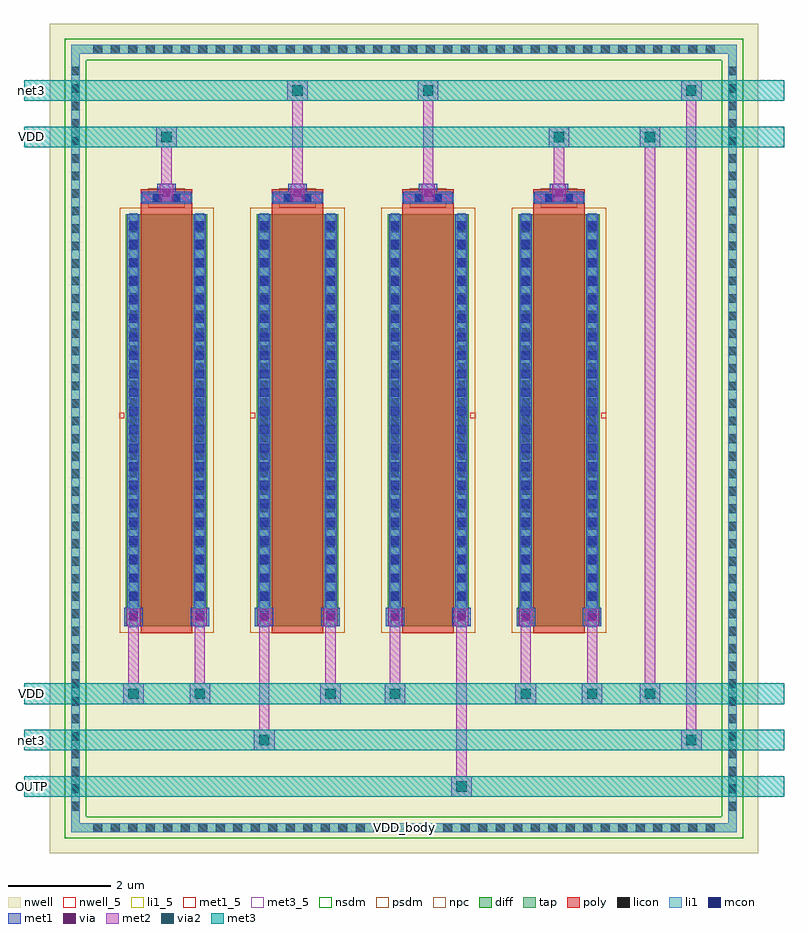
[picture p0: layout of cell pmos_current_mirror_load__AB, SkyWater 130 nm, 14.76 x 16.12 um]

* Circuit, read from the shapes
.subckt pmos_current_mirror_load__AB OUTP VDD VDD_body net3
XM1 VDD VDD VDD VDD_body sky130_fd_pr__pfet_01v8 w=8 l=1 m=2
XM2 VDD net3 net3 VDD_body sky130_fd_pr__pfet_01v8 w=8 l=1
XM3 OUTP net3 VDD VDD_body sky130_fd_pr__pfet_01v8 w=8 l=1
.ends

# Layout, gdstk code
from math import pi, radians
import gdstk
lib = gdstk.Library(unit=1e-6, precision=1e-09)
def R(c, l, rs):  # rectangles x0, y0, x1, y1
    for r in rs: c.add(gdstk.rectangle(r[:2], r[2:], *l))
def A(c, l, x, y, w, h, nx, ny, dx, dy):  # array of equal rectangles
    R(c, l, [(x+i*dx, y+j*dy, x+i*dx+w, y+j*dy+h) for i in range(nx) for j in range(ny)])
nwell_5 = (64, 5)
nwell = (64, 20)
diff = (65, 20)
tap = (65, 44)
poly = (66, 20)
licon = (66, 44)
li1_5 = (67, 5)
li1 = (67, 20)
mcon = (67, 44)
met1_5 = (68, 5)
met1 = (68, 20)
via = (68, 44)
met2 = (69, 20)
via2 = (69, 44)
met3_5 = (70, 5)
met3 = (70, 20)
nsdm = (93, 44)
psdm = (94, 20)
npc = (95, 20)

sky130_fd_pr__pfet_01v8_ = lib.new_cell('sky130_fd_pr__pfet_01v8_6DK835')
R(sky130_fd_pr__pfet_01v8_, nwell, [(-0.97,-4.49,0.97,4.32)])
R(sky130_fd_pr__pfet_01v8_, diff, [(-0.79,-4.18,0.79,3.82)])
R(sky130_fd_pr__pfet_01v8_, poly, [(-0.5,-4.31,0.5,4.305)])
A(sky130_fd_pr__pfet_01v8_, licon, -0.73, -4.005, 0.17, 0.17, 1, 23, 0, 0.34)
A(sky130_fd_pr__pfet_01v8_, licon, 0.56, -4.005, 0.17, 0.17, 1, 23, 0, 0.34)
R(sky130_fd_pr__pfet_01v8_, licon, [(-0.255,4.055,-0.085,4.225), (0.085,4.055,0.255,4.225)])
R(sky130_fd_pr__pfet_01v8_, li1, [(-0.73,-4.2,-0.56,3.84), (0.56,-4.2,0.73,3.84), (-0.5,4.055,0.5,4.225)])
A(sky130_fd_pr__pfet_01v8_, mcon, -0.73, -4.045, 0.17, 0.17, 1, 22, 0, 0.36)
A(sky130_fd_pr__pfet_01v8_, mcon, 0.56, -4.045, 0.17, 0.17, 1, 22, 0, 0.36)
R(sky130_fd_pr__pfet_01v8_, mcon, [(-0.265,4.055,-0.095,4.225), (0.095,4.055,0.265,4.225)])
R(sky130_fd_pr__pfet_01v8_, met1, [(-0.76,-4.18,-0.53,3.82), (0.53,-4.18,0.76,3.82), (-0.48,4.025,0.48,4.255)])
R(sky130_fd_pr__pfet_01v8_, psdm, [(-0.915,-4.305,0.915,3.945)])
R(sky130_fd_pr__pfet_01v8_, npc, [(-0.355,3.955,0.355,4.325)])
sky130_fd_pr__pfet_01v8_.add(gdstk.Label('D', (-0.645,-0.18), layer=67, texttype=5))
sky130_fd_pr__pfet_01v8_.add(gdstk.Label('S', (0.645,-0.18), layer=67, texttype=5))
sky130_fd_pr__pfet_01v8_.add(gdstk.Label('G', (0,4.14), layer=67, texttype=5))

pfet_01v8_w8_l1_m1__nf1_ = lib.new_cell('pfet_01v8_W8_L1_m1__nf1_gtop_sdfull_ng')
R(pfet_01v8_w8_l1_m1__nf1_, nwell_5, [(0.05,4.355,0.15,4.455)])
R(pfet_01v8_w8_l1_m1__nf1_, nwell, [(0.05,4.355,0.15,4.455)])
R(pfet_01v8_w8_l1_m1__nf1_, met1_5, [(0.21,4.31,0.44,4.51), (1.5,4.31,1.73,4.51), (0.49,8.515,1.45,8.745)])
R(pfet_01v8_w8_l1_m1__nf1_, met1, [(0.21,4.31,0.44,4.51), (1.5,4.31,1.73,4.51), (0.49,8.515,1.45,8.745)])
pfet_01v8_w8_l1_m1__nf1_.add(gdstk.Reference(sky130_fd_pr__pfet_01v8_, (0.97,4.49)))
pfet_01v8_w8_l1_m1__nf1_.add(gdstk.Label('D', (0.325,4.41), layer=68, texttype=5))
pfet_01v8_w8_l1_m1__nf1_.add(gdstk.Label('S', (1.615,4.41), layer=68, texttype=5))
pfet_01v8_w8_l1_m1__nf1_.add(gdstk.Label('G', (0.97,8.63), layer=68, texttype=5))
pfet_01v8_w8_l1_m1__nf1_.add(gdstk.Label('B', (0.1,4.405), layer=64, texttype=5))

pmos_current_mirror_load = lib.new_cell('pmos_current_mirror_load__AB')
R(pmos_current_mirror_load, nwell, [(-1.3,-4.1,12.46,12.015)])
R(pmos_current_mirror_load, tap, [(-0.885,-3.685,12.045,-3.515), (-0.885,-3.515,-0.715,11.43), (11.875,-3.515,12.045,11.43), (-0.885,11.43,12.045,11.6)])
A(pmos_current_mirror_load, licon, -0.455, -3.685, 0.17, 0.17, 36, 2, 0.34, 15.115)
A(pmos_current_mirror_load, licon, -0.885, -3.27, 0.17, 0.17, 1, 43, 0, 0.34)
A(pmos_current_mirror_load, licon, 11.875, -3.27, 0.17, 0.17, 1, 43, 0, 0.34)
R(pmos_current_mirror_load, li1_5, [(5.53,-3.65,5.63,-3.55)])
R(pmos_current_mirror_load, li1, [(-0.885,-3.685,12.045,-3.515), (-0.885,-3.515,-0.715,11.43), (11.875,-3.515,12.045,11.43), (-0.885,11.43,12.045,11.6)])
A(pmos_current_mirror_load, met1, 0.79, 8.545, 0.36, 0.36, 4, 1, 2.54, 0)
R(pmos_current_mirror_load, met1, [(0.145,0.31,0.505,0.67), (1.435,0.31,1.795,0.67), (2.685,0.31,3.045,0.67), (3.975,0.31,4.335,0.67), (5.225,0.31,5.585,0.67), (6.515,0.31,6.875,0.67), (7.765,0.31,8.125,0.67), (9.055,0.31,9.415,0.67)])
A(pmos_current_mirror_load, via, 0.895, 8.65, 0.15, 0.15, 4, 1, 2.54, 0)
R(pmos_current_mirror_load, via, [(0.25,0.415,0.4,0.565), (1.54,0.415,1.69,0.565), (2.79,0.415,2.94,0.565), (4.08,0.415,4.23,0.565), (5.33,0.415,5.48,0.565), (6.62,0.415,6.77,0.565), (7.87,0.415,8.02,0.565), (9.16,0.415,9.31,0.565)])
A(pmos_current_mirror_load, met2, 0.84, 8.565, 0.26, 0.32, 4, 1, 2.54, 0)
R(pmos_current_mirror_load, met2, [(6.495,-3,6.895,-2.6), (6.595,-2.6,6.795,0.33), (2.665,-2.1,3.065,-1.7), (10.96,-2.1,11.36,-1.7), (2.765,-1.7,2.965,0.33), (11.06,-1.7,11.26,10.515), (0.125,-1.2,0.525,-0.8), (1.415,-1.2,1.815,-0.8), (3.955,-1.2,4.355,-0.8), (5.205,-1.2,5.605,-0.8), (7.745,-1.2,8.145,-0.8), (9.035,-1.2,9.435,-0.8), (10.16,-1.2,10.56,-0.8), (0.225,-0.8,0.425,0.33), (1.515,-0.8,1.715,0.33), (4.055,-0.8,4.255,0.33), (5.305,-0.8,5.505,0.33), (7.845,-0.8,8.045,0.33), (9.135,-0.8,9.335,0.33), (10.26,-0.8,10.46,9.615), (0.195,0.33,0.455,0.65), (1.485,0.33,1.745,0.65), (2.735,0.33,2.995,0.65), (4.025,0.33,4.285,0.65), (5.275,0.33,5.535,0.65), (6.565,0.33,6.825,0.65), (7.815,0.33,8.075,0.65), (9.105,0.33,9.365,0.65), (0.87,8.885,1.07,9.615), (3.41,8.885,3.61,10.515), (5.95,8.885,6.15,10.515), (8.49,8.885,8.69,9.615), (0.77,9.615,1.17,10.015), (8.39,9.615,8.79,10.015), (10.16,9.615,10.56,10.015), (3.31,10.515,3.71,10.915), (5.85,10.515,6.25,10.915), (10.96,10.515,11.36,10.915)])
R(pmos_current_mirror_load, via2, [(6.595,-2.9,6.795,-2.7), (2.765,-2,2.965,-1.8), (11.06,-2,11.26,-1.8), (0.225,-1.1,0.425,-0.9), (1.515,-1.1,1.715,-0.9), (4.055,-1.1,4.255,-0.9), (5.305,-1.1,5.505,-0.9), (7.845,-1.1,8.045,-0.9), (9.135,-1.1,9.335,-0.9), (10.26,-1.1,10.46,-0.9), (0.87,9.715,1.07,9.915), (8.49,9.715,8.69,9.915), (10.26,9.715,10.46,9.915), (3.41,10.615,3.61,10.815), (5.95,10.615,6.15,10.815), (11.06,10.615,11.26,10.815)])
A(pmos_current_mirror_load, met3_5, -1.7, -2.85, 0.1, 0.1, 1, 3, 0, 0.9)
R(pmos_current_mirror_load, met3_5, [(-1.7,9.765,-1.6,9.865), (-1.7,10.665,-1.6,10.765)])
A(pmos_current_mirror_load, met3, -1.8, -3, 14.76, 0.4, 1, 3, 0, 0.9)
R(pmos_current_mirror_load, met3, [(-1.8,9.615,12.96,10.015), (-1.8,10.515,12.96,10.915)])
R(pmos_current_mirror_load, nsdm, [(-1.01,-3.81,12.17,-3.39), (-1.01,-3.39,-0.59,11.305), (11.75,-3.39,12.17,11.305), (-1.01,11.305,12.17,11.725)])
pmos_current_mirror_load.add(gdstk.Reference(pfet_01v8_w8_l1_m1__nf1_, (9.56,0), rotation=pi, x_reflection=True))
pmos_current_mirror_load.add(gdstk.Reference(pfet_01v8_w8_l1_m1__nf1_, (7.02,0), rotation=pi, x_reflection=True))
pmos_current_mirror_load.add(gdstk.Reference(pfet_01v8_w8_l1_m1__nf1_, (2.54,0)))
pmos_current_mirror_load.add(gdstk.Reference(pfet_01v8_w8_l1_m1__nf1_, (0,0)))
pmos_current_mirror_load.add(gdstk.Label('VDD', (-1.65,9.815), layer=70, texttype=5))
pmos_current_mirror_load.add(gdstk.Label('net3', (-1.65,10.715), layer=70, texttype=5))
pmos_current_mirror_load.add(gdstk.Label('VDD', (-1.65,-1), layer=70, texttype=5))
pmos_current_mirror_load.add(gdstk.Label('net3', (-1.65,-1.9), layer=70, texttype=5))
pmos_current_mirror_load.add(gdstk.Label('OUTP', (-1.65,-2.8), layer=70, texttype=5))
pmos_current_mirror_load.add(gdstk.Label('VDD_body', (5.58,-3.6), layer=67, texttype=5))

lib.write_gds('pmos_current_mirror_load__AB.gds')
